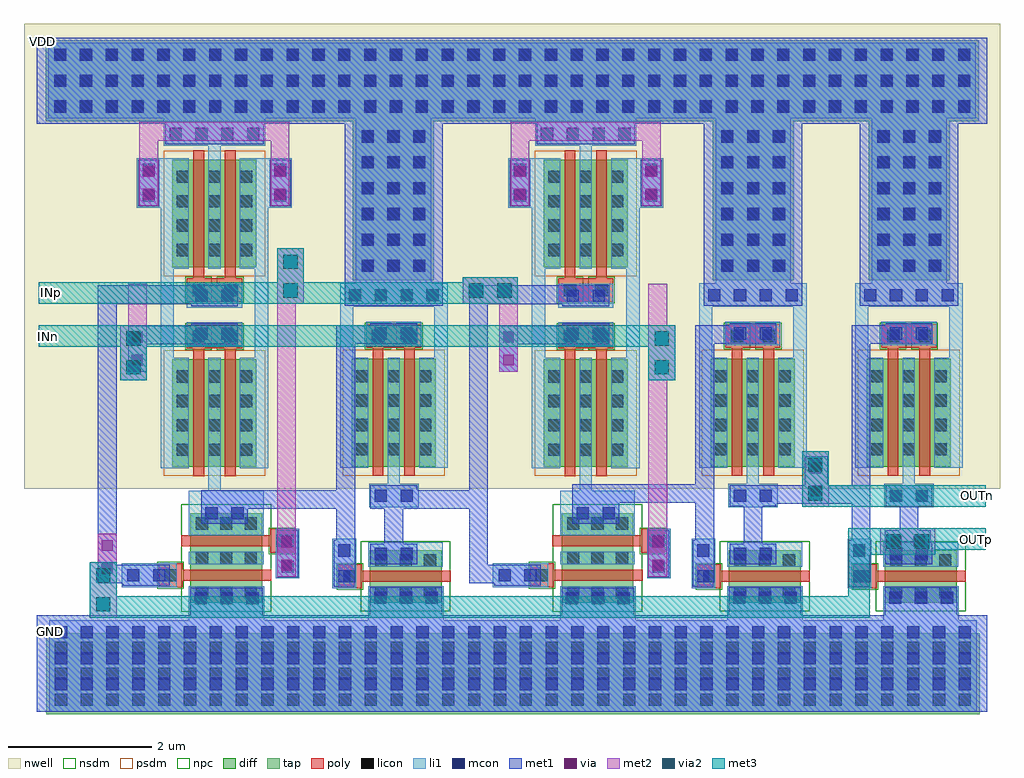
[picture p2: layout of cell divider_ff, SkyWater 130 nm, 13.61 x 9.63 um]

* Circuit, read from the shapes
.subckt divider_ff GND INn INp OUTn OUTp VDD
XM1 n1 OUTp GND GND sky130_fd_pr__nfet_01v8 w=1 l=0.15
XM2 n2 INp n1 GND sky130_fd_pr__nfet_01v8 w=1 l=0.15
XM3 n3 n2 GND GND sky130_fd_pr__nfet_01v8 w=1 l=0.15
XM4 n4 n3 GND GND sky130_fd_pr__nfet_01v8 w=1 l=0.15
XM5 n5 INn n4 GND sky130_fd_pr__nfet_01v8 w=1 l=0.15
XM6 OUTn n5 GND GND sky130_fd_pr__nfet_01v8 w=1 l=0.15
XM7 OUTp OUTn GND GND sky130_fd_pr__nfet_01v8 w=1 l=0.15
XM8 n2 INn n6 VDD sky130_fd_pr__pfet_01v8 w=1.5 l=0.15 m=2
XM9 VDD OUTp n6 VDD sky130_fd_pr__pfet_01v8 w=1.5 l=0.15 m=2
XM10 n3 n2 VDD VDD sky130_fd_pr__pfet_01v8 w=1.5 l=0.15 m=2
XM11 n5 INp n7 VDD sky130_fd_pr__pfet_01v8 w=1.5 l=0.15 m=2
XM12 VDD n3 n7 VDD sky130_fd_pr__pfet_01v8 w=1.5 l=0.15 m=2
XM13 OUTn n5 VDD VDD sky130_fd_pr__pfet_01v8 w=1.5 l=0.15 m=2
XM14 OUTp OUTn VDD VDD sky130_fd_pr__pfet_01v8 w=1.5 l=0.15 m=2
.ends

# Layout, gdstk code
from math import pi, radians
import gdstk
lib = gdstk.Library(unit=1e-6, precision=5e-09)
def R(c, l, rs):  # rectangles x0, y0, x1, y1
    for r in rs: c.add(gdstk.rectangle(r[:2], r[2:], *l))
def A(c, l, x, y, w, h, nx, ny, dx, dy):  # array of equal rectangles
    R(c, l, [(x+i*dx, y+j*dy, x+i*dx+w, y+j*dy+h) for i in range(nx) for j in range(ny)])
def P(c, l, *ps):  # polygons
    for p in ps: c.add(gdstk.Polygon(p, *l))
nwell = (64, 20)
diff = (65, 20)
tap = (65, 44)
poly = (66, 20)
licon = (66, 44)
li1 = (67, 20)
mcon = (67, 44)
met1 = (68, 20)
via = (68, 44)
met2 = (69, 20)
via2 = (69, 44)
met3 = (70, 20)
nsdm = (93, 44)
psdm = (94, 20)
npc = (95, 20)

contact_13 = lib.new_cell('contact$13')
R(contact_13, li1, [(-0.345,-0.165,0.345,0.165)])
R(contact_13, mcon, [(-0.265,-0.085,-0.095,0.085), (0.095,-0.085,0.265,0.085)])
R(contact_13, met1, [(-0.325,-0.145,0.325,0.145)])

sky130_fd_pr__nfet_01v8_ = lib.new_cell('sky130_fd_pr__nfet_01v8_vgtpyi')
R(sky130_fd_pr__nfet_01v8_, diff, [(-0.365,-0.655,0.365,0.345)])
R(sky130_fd_pr__nfet_01v8_, poly, [(-0.075,-0.785,0.075,0.455), (-0.165,0.455,0.165,0.785)])
A(sky130_fd_pr__nfet_01v8_, licon, -0.305, -0.58, 0.17, 0.17, 1, 3, 0, 0.34)
A(sky130_fd_pr__nfet_01v8_, licon, 0.135, -0.58, 0.17, 0.17, 1, 3, 0, 0.34)
R(sky130_fd_pr__nfet_01v8_, licon, [(-0.085,0.535,0.085,0.705)])
R(sky130_fd_pr__nfet_01v8_, li1, [(-0.305,-0.675,-0.135,0.365), (0.135,-0.675,0.305,0.365), (-0.165,0.535,0.165,0.705)])
R(sky130_fd_pr__nfet_01v8_, nsdm, [(-0.49,-0.78,0.49,0.47)])
R(sky130_fd_pr__nfet_01v8_, npc, [(-0.185,0.435,0.185,0.805)])

contact_11 = lib.new_cell('contact$11')
R(contact_11, li1, [(-0.705,-0.165,0.705,0.165)])
A(contact_11, mcon, -0.625, -0.085, 0.17, 0.17, 4, 1, 0.36, 0)
R(contact_11, met1, [(-0.685,-0.145,0.685,0.145)])

sky130_fd_pr__pfet_01v8_ = lib.new_cell('sky130_fd_pr__pfet_01v8_artqk7')
R(sky130_fd_pr__pfet_01v8_, nwell, [(-0.67,-1.235,0.67,0.875)])
R(sky130_fd_pr__pfet_01v8_, diff, [(-0.365,-0.93,0.365,0.57)])
R(sky130_fd_pr__pfet_01v8_, poly, [(-0.075,-1.06,0.075,0.725), (-0.165,0.725,0.165,1.055)])
A(sky130_fd_pr__pfet_01v8_, licon, -0.305, -0.775, 0.17, 0.17, 1, 4, 0, 0.34)
A(sky130_fd_pr__pfet_01v8_, licon, 0.135, -0.775, 0.17, 0.17, 1, 4, 0, 0.34)
R(sky130_fd_pr__pfet_01v8_, licon, [(-0.085,0.805,0.085,0.975)])
R(sky130_fd_pr__pfet_01v8_, li1, [(-0.305,-0.95,-0.135,0.59), (0.135,-0.95,0.305,0.59), (-0.165,0.805,0.165,0.975)])
R(sky130_fd_pr__pfet_01v8_, psdm, [(-0.49,-1.055,0.49,0.695)])
R(sky130_fd_pr__pfet_01v8_, npc, [(-0.185,0.705,0.185,1.075)])

pfet_w1_5_l0_15_m2 = lib.new_cell('pfet_w1-5_l0-15_m2')
R(pfet_w1_5_l0_15_m2, poly, [(0.835,1.96,0.945,2.29), (0.835,1.96,0.945,2.29)])
R(pfet_w1_5_l0_15_m2, li1, [(0.835,2.04,0.945,2.21), (0.835,2.04,0.945,2.21)])
r = gdstk.Reference(sky130_fd_pr__pfet_01v8_, (0.67,1.235)); r.repetition = gdstk.Repetition(2, 1, v1=(0.44,0), v2=(0,0)); pfet_w1_5_l0_15_m2.add(r)
r = gdstk.Reference(sky130_fd_pr__pfet_01v8_, (0.67,1.235)); r.repetition = gdstk.Repetition(2, 1, v1=(0.44,0), v2=(0,0)); pfet_w1_5_l0_15_m2.add(r)

contact_12 = lib.new_cell('contact$12')
R(contact_12, li1, [(-0.525,-0.165,0.525,0.165)])
A(contact_12, mcon, -0.445, -0.085, 0.17, 0.17, 3, 1, 0.36, 0)
R(contact_12, met1, [(-0.505,-0.145,0.505,0.145)])

inverter = lib.new_cell('inverter')
R(inverter, li1, [(0.86,0.145,1.91,0.625), (0.86,1.065,1.9,1.235), (1.13,2.05,1.3,2.27), (0.83,3.98,1.6,4.31)])
P(inverter, li1, [(0.465,2.27),(0.465,4.845),(0.69,4.845),(0.69,4.515),(0.65,4.515),(0.65,3.81),(0.69,3.81),(0.69,2.27)],
  [(1.74,2.27),(1.74,3.81),(1.78,3.81),(1.78,4.515),(1.74,4.515),(1.74,4.845),(1.965,4.845),(1.965,2.27)])
R(inverter, met1, [(0.88,0.145,1.89,0.315), (0.53,4.825,1.9,7.07)])
inverter.add(gdstk.FlexPath([(0.545,4.26),(0.545,0.695)], 0.26, ends="flush", simple_path=True, layer=68, datatype=20))  # met1
inverter.add(gdstk.FlexPath([(0.89,4.13),(0.42,4.13)], 0.26, ends="flush", simple_path=True, layer=68, datatype=20))  # met1
inverter.add(gdstk.FlexPath([(1.215,1.74),(1.215,0.955)], 0.26, ends="flush", simple_path=True, layer=68, datatype=20))  # met1
inverter.add(gdstk.Reference(contact_13, (1.215,4.145)))
inverter.add(gdstk.Reference(sky130_fd_pr__nfet_01v8_, (1.225,0.76), rotation=pi/2))
inverter.add(gdstk.Reference(contact_11, (1.215,4.68)))
inverter.add(gdstk.Reference(pfet_w1_5_l0_15_m2, (0.325,1.985)))
inverter.add(gdstk.Reference(contact_13, (0.525,0.94), rotation=pi/2))
inverter.add(gdstk.Reference(contact_13, (1.215,1.885)))
inverter.add(gdstk.Reference(contact_13, (1.215,1.07)))
inverter.add(gdstk.Reference(contact_12, (1.385,0.46)))

via12 = lib.new_cell('via12')
R(via12, met1, [(-0.32,-0.13,0.32,0.13)])
R(via12, via, [(-0.235,-0.075,-0.085,0.075), (0.085,-0.075,0.235,0.075)])
R(via12, met2, [(-0.32,-0.13,0.32,0.13)])

c_sky130_fd_pr__nfet_01v8_ = lib.new_cell('sky130_fd_pr__nfet_01v8_6e69vn')
R(c_sky130_fd_pr__nfet_01v8_, diff, [(-0.625,-0.5,0.625,0.5)])
R(c_sky130_fd_pr__nfet_01v8_, poly, [(-0.405,-0.94,-0.075,-0.61), (0.165,-0.63,0.315,0.61), (-0.315,-0.61,-0.165,0.63), (0.075,0.61,0.405,0.94)])
A(c_sky130_fd_pr__nfet_01v8_, licon, -0.565, -0.425, 0.17, 0.17, 3, 3, 0.48, 0.34)
R(c_sky130_fd_pr__nfet_01v8_, licon, [(-0.325,-0.86,-0.155,-0.69), (0.155,0.69,0.325,0.86)])
A(c_sky130_fd_pr__nfet_01v8_, li1, -0.565, -0.52, 0.17, 1.04, 3, 1, 0.48, 0)
R(c_sky130_fd_pr__nfet_01v8_, li1, [(-0.405,-0.86,-0.075,-0.69), (0.075,0.69,0.405,0.86)])
R(c_sky130_fd_pr__nfet_01v8_, nsdm, [(-0.75,-0.625,0.75,0.625)])
R(c_sky130_fd_pr__nfet_01v8_, npc, [(-0.425,-0.96,-0.055,-0.59), (0.055,0.59,0.425,0.96)])

latch = lib.new_cell('latch')
R(latch, li1, [(1.875,0.47,2.925,0.615), (1.875,1.655,2.915,2.28), (2.145,2.28,2.315,2.59), (1.845,4.3,2.615,4.63), (1.845,4.83,2.615,5.16), (2.145,6.915,2.315,7.085)])
P(latch, li1, [(1.48,2.59),(1.48,6.915),(1.705,6.915),(1.705,5.375),(1.665,5.375),(1.665,4.13),(1.705,4.13),(1.705,2.59)],
  [(2.755,2.59),(2.755,4.13),(2.795,4.13),(2.795,5.375),(2.755,5.375),(2.755,6.915),(2.98,6.915),(2.98,2.59)])
R(latch, met1, [(1.895,0.545,2.905,0.635)])
latch.add(gdstk.FlexPath([(1.905,4.45),(1.025,4.45)], 0.26, ends="flush", simple_path=True, layer=68, datatype=20))  # met1
latch.add(gdstk.FlexPath([(1.905,5.01),(0.605,5.01)], 0.26, ends="flush", simple_path=True, layer=68, datatype=20))  # met1
latch.add(gdstk.FlexPath([(0.735,5.14),(0.735,1.03)], 0.26, ends="flush", simple_path=True, layer=68, datatype=20))  # met1
latch.add(gdstk.FlexPath([(1.035,1.115),(0.605,1.115)], 0.26, ends="flush", simple_path=True, layer=68, datatype=20))  # met1
latch.add(gdstk.FlexPath([(3.145,6.89),(3.145,7.29),(1.315,7.29),(1.315,6.89)], 0.26, ends="flush", simple_path=True, layer=69, datatype=20))  # met2
latch.add(gdstk.FlexPath([(1.155,5.16),(1.155,3.94)], 0.26, ends="flush", simple_path=True, layer=69, datatype=20))  # met2
latch.add(gdstk.FlexPath([(3.235,5.16),(3.235,1.455)], 0.26, ends="flush", simple_path=True, layer=69, datatype=20))  # met2
latch.add(gdstk.Reference(contact_13, (1.28,1.1)))
latch.add(gdstk.Reference(pfet_w1_5_l0_15_m2, (1.34,7.2), x_reflection=True))
latch.add(gdstk.Reference(pfet_w1_5_l0_15_m2, (1.34,2.305)))
latch.add(gdstk.Reference(contact_13, (1.315,6.57), rotation=3*pi/2))
latch.add(gdstk.Reference(contact_13, (2.23,4.465)))
latch.add(gdstk.Reference(contact_13, (2.23,4.995)))
latch.add(gdstk.Reference(contact_12, (2.4,0.78)))
latch.add(gdstk.Reference(contact_11, (2.23,7.25)))
latch.add(gdstk.Reference(contact_13, (2.37,1.965), rotation=pi))
latch.add(gdstk.Reference(contact_13, (3.25,1.4), rotation=pi/2))
latch.add(gdstk.Reference(via12, (3.235,1.4), rotation=pi/2))
latch.add(gdstk.Reference(via12, (1.155,4.26), rotation=pi/2))
latch.add(gdstk.Reference(via12, (1.155,4.26), rotation=pi/2))
latch.add(gdstk.Reference(c_sky130_fd_pr__nfet_01v8_, (2.395,1.34), rotation=3*pi/2, x_reflection=True))
latch.add(gdstk.Reference(contact_13, (3.145,6.57), rotation=3*pi/2))
latch.add(gdstk.Reference(via12, (1.315,6.57), rotation=pi/2))
latch.add(gdstk.Reference(via12, (3.145,6.57), rotation=pi/2))

contact_14 = lib.new_cell('contact$14')
R(contact_14, met2, [(-0.185,-0.385,0.185,0.385)])
R(contact_14, via2, [(-0.1,-0.3,0.1,-0.1), (-0.1,0.1,0.1,0.3)])
R(contact_14, met3, [(-0.185,-0.385,0.185,0.385)])

contact_15 = lib.new_cell('contact$15')
R(contact_15, met1, [(-0.16,-0.32,0.16,0.32)])
R(contact_15, via, [(-0.075,-0.235,0.075,-0.085), (-0.075,0.085,0.075,0.235)])
R(contact_15, met2, [(-0.16,-0.32,0.16,0.32)])

divider_ff = lib.new_cell('divider_ff')
R(divider_ff, nwell, [(0.595,-1.05,14.2,5.435)])
R(divider_ff, tap, [(0.905,-4.195,13.915,-3.065), (5.18,1.855,6.31,4.075), (10.195,1.855,11.325,4.075), (12.37,1.855,13.5,4.075), (0.895,4.075,13.905,5.205)])
A(divider_ff, licon, 1.025, -4.075, 0.17, 0.17, 36, 3, 0.36, 0.36)
A(divider_ff, licon, 5.3, 1.975, 0.17, 0.17, 3, 6, 0.36, 0.36)
A(divider_ff, licon, 10.315, 1.975, 0.17, 0.17, 3, 6, 0.36, 0.36)
A(divider_ff, licon, 12.49, 1.975, 0.17, 0.17, 3, 6, 0.36, 0.36)
A(divider_ff, licon, 1.015, 4.195, 0.17, 0.17, 36, 3, 0.36, 0.36)
R(divider_ff, li1, [(0.945,-4.155,13.875,-2.885), (5.22,1.815,6.27,1.895), (10.235,1.815,11.285,1.895), (12.41,1.815,13.46,1.895), (5.22,1.895,6.27,4.115), (10.235,1.895,11.285,4.115), (12.41,1.895,13.46,4.115), (2.545,4.06,3.955,4.115), (7.72,4.06,9.13,4.115), (0.935,4.115,13.865,5.165)])
A(divider_ff, mcon, 1.025, -3.855, 0.17, 0.17, 36, 3, 0.36, 0.36)
A(divider_ff, mcon, 5.3, 1.975, 0.17, 0.17, 3, 6, 0.36, 0.36)
A(divider_ff, mcon, 10.315, 1.975, 0.17, 0.17, 3, 6, 0.36, 0.36)
A(divider_ff, mcon, 12.49, 1.975, 0.17, 0.17, 3, 6, 0.36, 0.36)
A(divider_ff, mcon, 1.015, 4.195, 0.17, 0.17, 36, 3, 0.36, 0.36)
R(divider_ff, met1, [(0.775,-4.155,14.025,-2.885), (12.595,-2.075,13.255,-1.945), (5.22,1.895,6.27,4.115), (10.235,1.895,11.285,4.115), (12.41,1.895,13.46,4.115), (0.935,4.115,13.865,5.165)])
R(divider_ff, met3, [(12.385,-1.97,12.53,-1.9)])
R(divider_ff, nsdm, [(5.18,1.855,6.31,4.075), (10.195,1.855,11.325,4.075), (12.37,1.855,13.5,4.075), (0.895,4.075,13.905,5.205)])
R(divider_ff, psdm, [(0.905,-4.195,13.915,-3.065)])
divider_ff.add(gdstk.FlexPath([(8.24,-1.115),(9.955,-1.115)], 0.26, ends="flush", simple_path=True, layer=68, datatype=20))  # met1
divider_ff.add(gdstk.FlexPath([(11.08,-1.13),(12.39,-1.13)], 0.26, ends="flush", simple_path=True, layer=68, datatype=20))  # met1
divider_ff.add(gdstk.FlexPath([(3.065,-1.2),(4.95,-1.2)], 0.26, ends="flush", simple_path=True, layer=68, datatype=20))  # met1
divider_ff.add(gdstk.FlexPath([(0.775,-3.41),(14.025,-3.41)], 1.2, ends="flush", simple_path=True, layer=68, datatype=20))  # met1
divider_ff.add(gdstk.FlexPath([(0.775,4.64),(14.025,4.64)], 1.2, ends="flush", simple_path=True, layer=68, datatype=20))  # met1
divider_ff.add(gdstk.FlexPath([(5.425,-1.2),(7.06,-1.2)], 0.26, ends="flush", simple_path=True, layer=68, datatype=20))  # met1
divider_ff.add(gdstk.FlexPath([(0.8,1.08),(9.56,1.08)], 0.3, ends="flush", simple_path=True, layer=70, datatype=20))  # met3
divider_ff.add(gdstk.FlexPath([(1.595,-2.695),(12.37,-2.695)], 0.3, ends="flush", simple_path=True, layer=70, datatype=20))  # met3
divider_ff.add(gdstk.FlexPath([(12.235,-2.845),(12.235,-1.6)], 0.3, ends="flush", simple_path=True, layer=70, datatype=20))  # met3
divider_ff.add(gdstk.FlexPath([(12.085,-1.75),(14,-1.75)], 0.3, ends="flush", simple_path=True, layer=70, datatype=20))  # met3
divider_ff.add(gdstk.FlexPath([(11.81,-1.15),(14,-1.15)], 0.3, ends="flush", simple_path=True, layer=70, datatype=20))  # met3
divider_ff.add(gdstk.FlexPath([(0.8,1.68),(7.155,1.68)], 0.3, ends="flush", simple_path=True, layer=70, datatype=20))  # met3
divider_ff.add(gdstk.Reference(inverter, (4.535,-3.03)))
divider_ff.add(gdstk.Reference(latch, (1.02,-3.355)))
divider_ff.add(gdstk.Reference(inverter, (9.54,-3.03)))
divider_ff.add(gdstk.Reference(latch, (6.195,-3.355)))
divider_ff.add(gdstk.Reference(contact_14, (2.12,0.845)))
divider_ff.add(gdstk.Reference(contact_14, (4.31,1.915), rotation=pi))
divider_ff.add(gdstk.Reference(contact_14, (7.095,1.715), rotation=pi/2))
divider_ff.add(gdstk.Reference(contact_14, (9.485,0.845)))
divider_ff.add(gdstk.Reference(contact_14, (1.7,-2.46)))
divider_ff.add(gdstk.Reference(contact_14, (12.915,-1.785), rotation=pi/2))
divider_ff.add(gdstk.Reference(contact_14, (11.625,-0.915), rotation=pi))
divider_ff.add(gdstk.Reference(contact_15, (11.64,-0.915), rotation=pi))
divider_ff.add(gdstk.Reference(via12, (1.755,-2), rotation=pi/2))
divider_ff.add(gdstk.Reference(contact_15, (12.915,-1.785), rotation=pi/2))
divider_ff.add(gdstk.Reference(inverter, (11.715,-3.03)))
divider_ff.add(gdstk.Label('VDD', (0.855,5.18), layer=68, texttype=5))
divider_ff.add(gdstk.Label('GND', (0.965,-3.04), layer=68, texttype=5))
divider_ff.add(gdstk.Label('OUTp', (13.87,-1.75), layer=70, texttype=5))
divider_ff.add(gdstk.Label('OUTn', (13.885,-1.15), layer=70, texttype=5))
divider_ff.add(gdstk.Label('INn', (0.935,1.08), layer=70, texttype=5))
divider_ff.add(gdstk.Label('INp', (0.975,1.68), layer=70, texttype=5))

lib.write_gds('divider_ff.gds')
